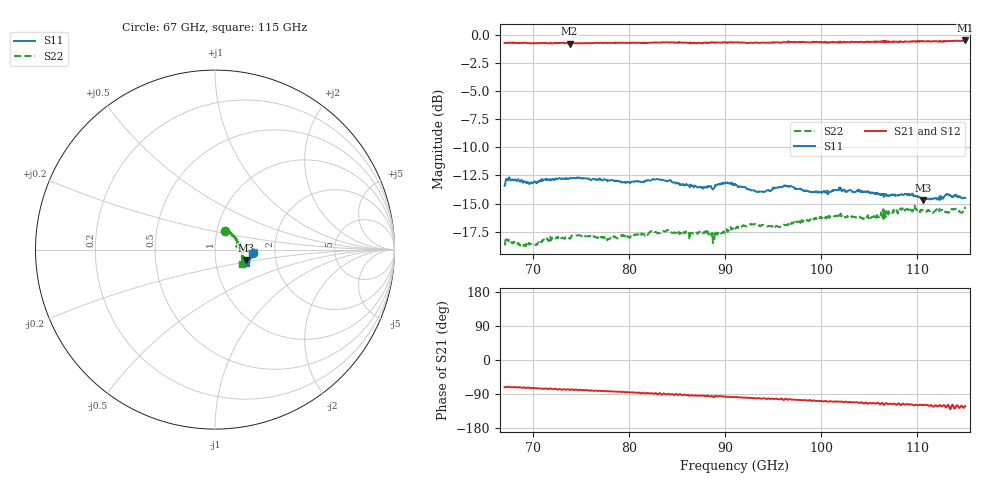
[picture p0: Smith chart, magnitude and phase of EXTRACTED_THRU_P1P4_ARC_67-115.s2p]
! Generated by Phase I extraction
# Hz S RI R 50
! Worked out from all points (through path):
!   1001 points, 67 GHz to 115 GHz, reference 50 ohm
!   highest |S21| = -0.52 dB at 115 GHz (marker M1); lowest = -0.8 dB at 73.77 GHz (marker M2)
!   group delay of S21, straight-line fit = 3.11 ps
!   lowest |S11| = -14.7 dB at 110.6 GHz (marker M3), VSWR 1.45, Z = 70.4 - j8.81 ohm
!   |S11| at or under -10 dB: start of sweep to end of sweep
!   |S22| runs from -18.8 to -15.2 dB; largest |S21 - S12| = 1.5
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6.7e10  0.2128 -0.0165  0.2868 -0.8718  0.875 -0.2605  0.0544 0.1051
6.8968e10  0.2208 -0.00772  0.2804 -0.8769  0.875 -0.2879  0.0577 0.1001
7.3768e10  0.2305 -0.00442  0.1784 -0.8946  0.8764 -0.2665  0.0793 0.0965
7.5016e10  0.2303 -0.00565  0.1682 -0.9  0.8665 -0.3046  0.0895 0.0912
7.78e10  0.2259 -0.0114  0.1213 -0.9116  0.8639 -0.3183  0.0974 0.0764
8.3032e10  0.2275 -0.0184  0.012 -0.9213  0.8573 -0.3357  0.1162 0.0617
8.7928e10  0.2088 -0.0249  -0.0865 -0.9162  0.8465 -0.3679  0.1272 0.0361
8.86e10  0.2057 -0.0233  -0.0828 -0.9204  0.8352 -0.3972  0.1254 0.0217
8.9176e10  0.2146 -0.0238  -0.0993 -0.9172  0.8395 -0.3792  0.1274 0.0304
9.1e10  0.2151 -0.0274  -0.1273 -0.9134  0.8386 -0.3884  0.1338 0.0296
9.34e10  0.1979 -0.0314  -0.1689 -0.9048  0.8276 -0.4138  0.1409 0.02
9.628e10  0.2101 -0.0353  -0.1967 -0.9041  0.8168 -0.4407  0.1427 0.00756
9.9016e10  0.1965 -0.0376  -0.2876 -0.8786  0.8279 -0.4212  0.1509 -0.00743
1.01848e11  0.206 -0.0376  -0.316 -0.8678  0.8223 -0.4382  0.16 -0.0165
1.04344e11  0.1933 -0.0526  -0.3809 -0.8435  0.8135 -0.4439  0.1499 -0.0249
1.07032e11  0.1843 -0.0541  -0.4084 -0.8361  0.7953 -0.4836  0.1549 -0.0463
1.10584e11  0.1738 -0.0605  -0.4515 -0.8201  0.7827 -0.5142  0.1547 -0.0594
1.11832e11  0.1768 -0.0636  -0.4666 -0.8104  0.773 -0.5235  0.1541 -0.0601
1.12552e11  0.1776 -0.0656  -0.4939 -0.7888  0.7859 -0.5055  0.1552 -0.0615
1.13656e11  0.1744 -0.0747  -0.4408 -0.8267  0.7322 -0.5865  0.1506 -0.0735
1.14952e11  0.1716 -0.0776  -0.5005 -0.7983  0.7498 -0.566  0.1502 -0.0812
1.15e11  0.1724 -0.0761  -0.4933 -0.7994  0.746 -0.5702  0.1482 -0.0814
